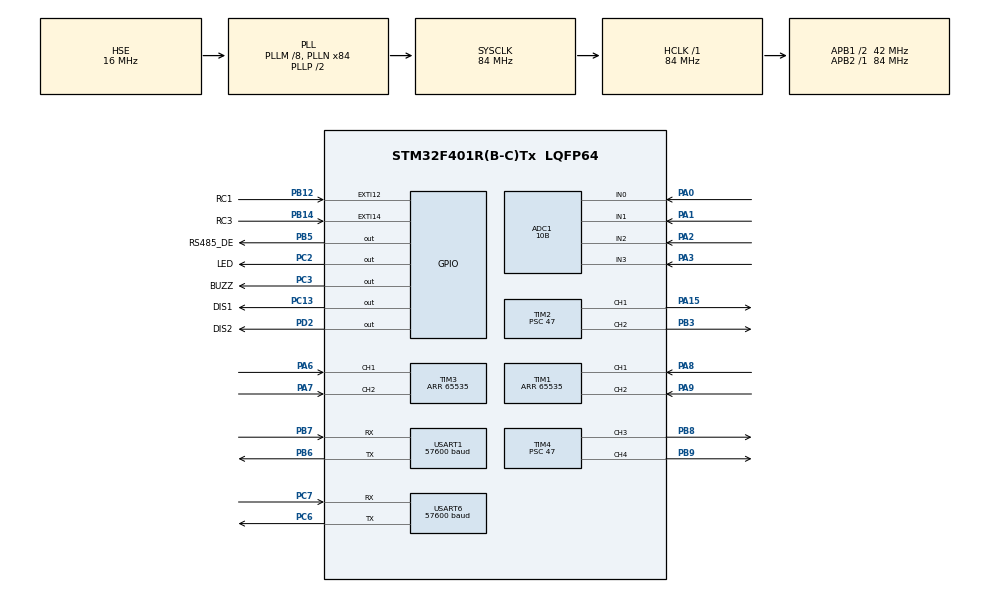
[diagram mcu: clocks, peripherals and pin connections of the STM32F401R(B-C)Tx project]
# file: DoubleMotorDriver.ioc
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ADC1.Channel-0\#ChannelRegularConversion=ADC_CHANNEL_0
ADC1.Channel-1\#ChannelRegularConversion=ADC_CHANNEL_1
ADC1.Channel-2\#ChannelRegularConversion=ADC_CHANNEL_2
ADC1.Channel-3\#ChannelRegularConversion=ADC_CHANNEL_3
ADC1.Channel-4\#ChannelRegularConversion=ADC_CHANNEL_TEMPSENSOR
ADC1.ClockPrescaler=ADC_CLOCK_SYNC_PCLK_DIV6
ADC1.ContinuousConvMode=ENABLE
ADC1.DMAContinuousRequests=ENABLE
ADC1.DataAlign=ADC_DATAALIGN_RIGHT
ADC1.DiscontinuousConvMode=DISABLE
ADC1.EOCSelection=ADC_EOC_SINGLE_CONV
ADC1.EnableAnalogWatchDog=false
ADC1.ExternalTrigConv=ADC_SOFTWARE_START
ADC1.ExternalTrigConvEdge=ADC_EXTERNALTRIGCONVEDGE_NONE
ADC1.InjNumberOfConversion=0
ADC1.NbrOfConversion=5
ADC1.NbrOfConversionFlag=1
ADC1.Rank-0\#ChannelRegularConversion=1
ADC1.Rank-1\#ChannelRegularConversion=2
ADC1.Rank-2\#ChannelRegularConversion=3
ADC1.Rank-3\#ChannelRegularConversion=4
ADC1.Rank-4\#ChannelRegularConversion=5
ADC1.Resolution=ADC_RESOLUTION_10B
ADC1.SamplingTime-0\#ChannelRegularConversion=ADC_SAMPLETIME_480CYCLES
ADC1.SamplingTime-1\#ChannelRegularConversion=ADC_SAMPLETIME_480CYCLES
ADC1.SamplingTime-2\#ChannelRegularConversion=ADC_SAMPLETIME_480CYCLES
ADC1.SamplingTime-3\#ChannelRegularConversion=ADC_SAMPLETIME_480CYCLES
ADC1.SamplingTime-4\#ChannelRegularConversion=ADC_SAMPLETIME_480CYCLES
ADC1.ScanConvMode=ENABLE
ADC1.master=1
Dma.ADC1.0.Direction=DMA_PERIPH_TO_MEMORY
Dma.ADC1.0.FIFOMode=DMA_FIFOMODE_DISABLE
Dma.ADC1.0.Instance=DMA2_Stream0
Dma.ADC1.0.MemDataAlignment=DMA_MDATAALIGN_HALFWORD
Dma.ADC1.0.MemInc=DMA_MINC_ENABLE
Dma.ADC1.0.Mode=DMA_CIRCULAR
Dma.ADC1.0.PeriphDataAlignment=DMA_PDATAALIGN_HALFWORD
Dma.ADC1.0.PeriphInc=DMA_PINC_DISABLE
Dma.ADC1.0.Priority=DMA_PRIORITY_MEDIUM
Dma.Request0=ADC1
Dma.Request1=USART1_RX
Dma.USART1_RX.1.Direction=DMA_PERIPH_TO_MEMORY
Dma.USART1_RX.1.FIFOMode=DMA_FIFOMODE_DISABLE
Dma.USART1_RX.1.Instance=DMA2_Stream2
Dma.USART1_RX.1.MemDataAlignment=DMA_MDATAALIGN_BYTE
Dma.USART1_RX.1.MemInc=DMA_MINC_ENABLE
Dma.USART1_RX.1.Mode=DMA_CIRCULAR
Dma.USART1_RX.1.PeriphDataAlignment=DMA_PDATAALIGN_BYTE
Dma.USART1_RX.1.PeriphInc=DMA_PINC_DISABLE
Dma.USART1_RX.1.Priority=DMA_PRIORITY_VERY_HIGH
Mcu.Family=STM32F4
Mcu.Name=STM32F401R(B-C)Tx
Mcu.Package=LQFP64
NVIC.DMA2_Stream0_IRQn=true\:6\:0\:true\:false\:true\:false
NVIC.DMA2_Stream2_IRQn=true\:5\:0\:true\:false\:true\:false
NVIC.PriorityGroup=NVIC_PRIORITYGROUP_4
NVIC.TIM1_TRG_COM_TIM11_IRQn=true\:2\:0\:true\:false\:true\:true
NVIC.TIM1_UP_TIM10_IRQn=true\:1\:0\:true\:false\:true\:true
NVIC.USART1_IRQn=true\:3\:0\:true\:false\:true\:true
NVIC.USART6_IRQn=true\:4\:0\:true\:false\:true\:true
PA0-WKUP.Signal=ADCx_IN0
PA1.Signal=ADCx_IN1
PA13.Mode=Serial_Wire
PA13.Signal=SYS_JTMS-SWDIO
PA14.Mode=Serial_Wire
PA14.Signal=SYS_JTCK-SWCLK
PA15.Signal=S_TIM2_CH1_ETR
PA2.Signal=ADCx_IN2
PA3.Signal=ADCx_IN3
PA6.Signal=S_TIM3_CH1
PA7.Signal=S_TIM3_CH2
PA8.Signal=S_TIM1_CH1
PA9.Signal=S_TIM1_CH2
PB12.GPIO_Label=RC1
PB12.Signal=GPXTI12
PB13.GPIO_Label=RC2
PB13.Signal=EVENTOUT
PB14.GPIO_Label=RC3
PB14.Signal=GPXTI14
PB3.Signal=S_TIM2_CH2
PB5.GPIO_Label=RS485_DE
PB5.Signal=GPIO_Output
PB6.Mode=Asynchronous
PB6.Signal=USART1_TX
PB7.Mode=Asynchronous
PB7.Signal=USART1_RX
PB8.Signal=S_TIM4_CH3
PB9.Signal=S_TIM4_CH4
PC13-ANTI_TAMP.GPIO_Label=DIS1
PC13-ANTI_TAMP.Signal=GPIO_Output
PC2.GPIO_Label=LED
PC2.Signal=GPIO_Output
PC3.GPIO_Label=BUZZ
PC3.Signal=GPIO_Output
PC6.Mode=Asynchronous
PC6.Signal=USART6_TX
PC7.Mode=Asynchronous
PC7.Signal=USART6_RX
PD2.GPIO_Label=DIS2
PD2.Signal=GPIO_Output
PH0\ -\ OSC_IN.Mode=HSE-External-Oscillator
PH0\ -\ OSC_IN.Signal=RCC_OSC_IN
PH1\ -\ OSC_OUT.Mode=HSE-External-Oscillator
PH1\ -\ OSC_OUT.Signal=RCC_OSC_OUT
ProjectManager.HeapSize=0x1600
ProjectManager.StackSize=0x1600
ProjectManager.TargetToolchain=EWARM
RCC.48MHZClocksFreq_Value=42000000
RCC.AHBFreq_Value=84000000
RCC.APB1CLKDivider=RCC_HCLK_DIV2
RCC.APB1Freq_Value=42000000
RCC.APB1TimFreq_Value=84000000
RCC.APB2Freq_Value=84000000
RCC.APB2TimFreq_Value=84000000
RCC.CortexFreq_Value=84000000
RCC.HCLKFreq_Value=84000000
RCC.HSE_VALUE=16000000
RCC.HSI_VALUE=16000000
RCC.LSE_VALUE=32768
RCC.PLLM=8
RCC.PLLN=84
RCC.PLLSourceVirtual=RCC_PLLSOURCE_HSE
RCC.SYSCLKFreq_VALUE=84000000
RCC.SYSCLKSource=RCC_SYSCLKSOURCE_PLLCLK
RCC.VCOOutputFreq_Value=168000000
SH.ADCx_IN0.0=ADC1_IN0,IN0
SH.ADCx_IN1.0=ADC1_IN1,IN1
SH.ADCx_IN2.0=ADC1_IN2,IN2
SH.ADCx_IN3.0=ADC1_IN3,IN3
SH.S_TIM1_CH1.0=TIM1_CH1,Encoder_Interface
SH.S_TIM1_CH2.0=TIM1_CH2,Encoder_Interface
SH.S_TIM2_CH1_ETR.0=TIM2_CH1,PWM Generation1 CH1
SH.S_TIM2_CH2.0=TIM2_CH2,PWM Generation2 CH2
SH.S_TIM3_CH1.0=TIM3_CH1,Encoder_Interface
SH.S_TIM3_CH2.0=TIM3_CH2,Encoder_Interface
SH.S_TIM4_CH3.0=TIM4_CH3,PWM Generation3 CH3
SH.S_TIM4_CH4.0=TIM4_CH4,PWM Generation4 CH4
TIM1.EncoderMode=TIM_ENCODERMODE_TI12
TIM1.IC1Filter=5
TIM1.IC1Polarity=TIM_ICPOLARITY_FALLING
TIM1.IC2Filter=5
TIM1.Period=65535
TIM10.Period=83
TIM10.Prescaler=199
TIM2.Channel-PWM\ Generation1\ CH1=TIM_CHANNEL_1
TIM2.Channel-PWM\ Generation2\ CH2=TIM_CHANNEL_2
TIM2.Period=102
TIM2.Prescaler=47
TIM3.EncoderMode=TIM_ENCODERMODE_TI12
TIM3.IC1Filter=5
TIM3.IC1Polarity=TIM_ICPOLARITY_FALLING
TIM3.IC2Filter=5
TIM3.Period=65535
TIM4.Channel-PWM\ Generation3\ CH3=TIM_CHANNEL_3
TIM4.Channel-PWM\ Generation4\ CH4=TIM_CHANNEL_4
TIM4.Period=102
TIM4.Prescaler=47
USART1.BaudRate=57600
USART1.Mode=MODE_RX
USART1.VirtualMode=VM_ASYNC
USART6.BaudRate=57600
USART6.Mode=MODE_TX
USART6.VirtualMode=VM_ASYNC
VP_ADC1_TempSens_Input.Mode=IN-TempSens
VP_TIM10_VS_ClockSourceINT.Mode=Enable_Timer
board=custom

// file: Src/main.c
/**
  ******************************************************************************
  * @file           : main.c
  * @brief          : Main program body
  ******************************************************************************
  ** This notice applies to any and all portions of this file
  * that are not between comment pairs USER CODE BEGIN and
  * USER CODE END. Other portions of this file, whether
  * inserted by the user or by software development tools
  * are owned by their respective copyright owners.
  *
  * COPYRIGHT(c) 2019 STMicroelectronics
  *
  * Redistribution and use in source and binary forms, with or without modification,
  * are permitted provided that the following conditions are met:
  *   1. Redistributions of source code must retain the above copyright notice,
  *      this list of conditions and the following disclaimer.
  *   2. Redistributions in binary form must reproduce the above copyright notice,
  *      this list of conditions and the following disclaimer in the documentation
  *      and/or other materials provided with the distribution.
  *   3. Neither the name of STMicroelectronics nor the names of its contributors
  *      may be used to endorse or promote products derived from this software
  *      without specific prior written permission.
  *
  * THIS SOFTWARE IS PROVIDED BY THE COPYRIGHT HOLDERS AND CONTRIBUTORS "AS IS"
  * AND ANY EXPRESS OR IMPLIED WARRANTIES, INCLUDING, BUT NOT LIMITED TO, THE
  * IMPLIED WARRANTIES OF MERCHANTABILITY AND FITNESS FOR A PARTICULAR PURPOSE ARE
  * DISCLAIMED. IN NO EVENT SHALL THE COPYRIGHT HOLDER OR CONTRIBUTORS BE LIABLE
  * FOR ANY DIRECT, INDIRECT, INCIDENTAL, SPECIAL, EXEMPLARY, OR CONSEQUENTIAL
  * DAMAGES (INCLUDING, BUT NOT LIMITED TO, PROCUREMENT OF SUBSTITUTE GOODS OR
  * SERVICES; LOSS OF USE, DATA, OR PROFITS; OR BUSINESS INTERRUPTION) HOWEVER
  * CAUSED AND ON ANY THEORY OF LIABILITY, WHETHER IN CONTRACT, STRICT LIABILITY,
  * OR TORT (INCLUDING NEGLIGENCE OR OTHERWISE) ARISING IN ANY WAY OUT OF THE USE
  * OF THIS SOFTWARE, EVEN IF ADVISED OF THE POSSIBILITY OF SUCH DAMAGE.
  *
  ******************************************************************************
  */
#include "main.h"
#include "stm32f4xx_hal.h"
#include "adc.h"
#include "dma.h"
#include "tim.h"
#include "usart.h"
#include "gpio.h"

/* USER CODE BEGIN Includes */
#include "send_queue_manager.h"
#include "msg_gen.h"
#include "msg_rec.h"
#include "requests.h"
#include <stdlib.h>
#include <math.h>
#include <stdio.h>
#include "PID.h"
#include "fuzzy.h"
#include "robot_params.h"
#include "encoder.h"
#include "motor_control.h"
#include "eeprom_emulator.h"
#include "alarms.h"

#define ADC_MEASUREMENTS 5
/* USER CODE END Includes */

/* USER CODE BEGIN PV */
/* Private variables ---------------------------------------------------------*/
RobotParams_t robotParams;
uint16_t ADC_RAW[ADC_MEASUREMENTS];
extern uint16_t rec_timeout_ms;
/* USER CODE END PV */

void SystemClock_Config(void);

/* USER CODE BEGIN PFP */
/* Private function prototypes -----------------------------------------------*/
void check_timeout();
void assign_adc();

void pulse_gen();

void execute_closed_loop_control(){
  static float outLeft, outRight;

  if(robotParams.controlType == openLoop)
  {
    outLeft = robotParams.driveLeft.setpoint;
    outRight = robotParams.driveRight.setpoint;
  }
  else if(robotParams.controlType == closedLoopPID)
  {
    PID(&robotParams.driveLeft.pid,
        robotParams.driveLeft.setpoint,
        robotParams.driveLeft.speed,
        &outLeft,
        derivativeOnFeedback,
        false);

    PID(&robotParams.driveRight.pid,
        robotParams.driveRight.setpoint,
        robotParams.driveRight.speed,
        &outRight,
        derivativeOnFeedback,
        false);
  }
  else if(robotParams.controlType == closedLoopFuzzy)
  {
    fuzzy(&robotParams.driveLeft.fuzzy,
          robotParams.driveLeft.setpoint,
          robotParams.driveLeft.speed,
          &outLeft,
          false);

    fuzzy(&robotParams.driveRight.fuzzy,
          robotParams.driveRight.setpoint,
          robotParams.driveRight.speed,
          &outRight,
          false);
  }

  drive_motor_left((int16_t)outLeft);
  drive_motor_right((int16_t)outRight);
}

void HAL_TIM_PeriodElapsedCallback(TIM_HandleTypeDef *htim){
  if(htim->Instance == TIM10){ // each 200us
    static uint16_t cntr = 0;
    cntr++;
    update_slewrate_cnt();

    if(cntr == 25){ //each  5ms
      get_velocity(&robotParams);
      execute_closed_loop_control();
      if (rec_timeout_ms > 0) rec_timeout_ms--; //if this hits 0, then we are disabling motors (var is set in uart rec)
      cntr = 0;
    }
  }
}
/* USER CODE END PFP */

int main(void)
{
  /* USER CODE BEGIN 1 */
  InitSendQueue();
  ReadFromFlash(&robotParams, sizeof(robotParams), SECTOR5_FLASH_BEGINING);
  //fake_params();

  init_params(&robotParams);
  /* USER CODE END 1 */

  /* MCU Configuration----------------------------------------------------------*/

  /* Reset of all peripherals, Initializes the Flash interface and the Systick. */
  HAL_Init();

  /* Configure the system clock */
  SystemClock_Config();

  /* Initialize all configured peripherals */
  MX_GPIO_Init();
  MX_DMA_Init();
  MX_ADC1_Init();
  MX_TIM1_Init();
  MX_TIM2_Init();
  MX_TIM3_Init();
  MX_TIM4_Init();
  MX_USART6_UART_Init();
  MX_TIM10_Init();
  MX_USART1_UART_Init();
  /* USER CODE BEGIN 2 */
  HAL_ADC_Start_DMA(&hadc1, (uint32_t*)ADC_RAW, ADC_MEASUREMENTS);
  disable_motors();
  start_receiver();
  HAL_TIM_Encoder_Start(&htim1, TIM_CHANNEL_ALL);
  HAL_TIM_Encoder_Start(&htim3, TIM_CHANNEL_ALL);
  HAL_TIM_Base_Start_IT(&htim10); // 200 us IRQ (motor slew-rate limit)
  motor_left_start_PWM();
  motor_right_start_PWM();
  drive_motor_left(0);
  drive_motor_right(0);
  /* USER CODE END 2 */

  /* Infinite loop */
  /* USER CODE BEGIN WHILE */
  while (1){
    check_timeout();
    assign_adc();

    send_feedback(&robotParams); //sending feedback 'task'
    check_monitored_params(&robotParams); // threshold checks for alarms
    process_alarms(&robotParams); // process alarms timming
    process_requests(&robotParams, sizeof(robotParams));

  /* USER CODE END WHILE */

  }

}

void SystemClock_Config(void)
{

  RCC_OscInitTypeDef RCC_OscInitStruct;
  RCC_ClkInitTypeDef RCC_ClkInitStruct;

    /**Configure the main internal regulator output voltage
    */
  __HAL_RCC_PWR_CLK_ENABLE();

  __HAL_PWR_VOLTAGESCALING_CONFIG(PWR_REGULATOR_VOLTAGE_SCALE2);

    /**Initializes the CPU, AHB and APB busses clocks
    */
  RCC_OscInitStruct.OscillatorType = RCC_OSCILLATORTYPE_HSE;
  RCC_OscInitStruct.HSEState = RCC_HSE_ON;
  RCC_OscInitStruct.PLL.PLLState = RCC_PLL_ON;
  RCC_OscInitStruct.PLL.PLLSource = RCC_PLLSOURCE_HSE;
  RCC_OscInitStruct.PLL.PLLM = 8;
  RCC_OscInitStruct.PLL.PLLN = 84;
  RCC_OscInitStruct.PLL.PLLP = RCC_PLLP_DIV2;
  RCC_OscInitStruct.PLL.PLLQ = 4;
  if (HAL_RCC_OscConfig(&RCC_OscInitStruct) != HAL_OK)
  {
    _Error_Handler(__FILE__, __LINE__);
  }

    /**Initializes the CPU, AHB and APB busses clocks
    */
  RCC_ClkInitStruct.ClockType = RCC_CLOCKTYPE_HCLK|RCC_CLOCKTYPE_SYSCLK
                              |RCC_CLOCKTYPE_PCLK1|RCC_CLOCKTYPE_PCLK2;
  RCC_ClkInitStruct.SYSCLKSource = RCC_SYSCLKSOURCE_PLLCLK;
  RCC_ClkInitStruct.AHBCLKDivider = RCC_SYSCLK_DIV1;
  RCC_ClkInitStruct.APB1CLKDivider = RCC_HCLK_DIV2;
  RCC_ClkInitStruct.APB2CLKDivider = RCC_HCLK_DIV1;

  if (HAL_RCC_ClockConfig(&RCC_ClkInitStruct, FLASH_LATENCY_2) != HAL_OK)
  {
    _Error_Handler(__FILE__, __LINE__);
  }

    /**Configure the Systick interrupt time
    */
  HAL_SYSTICK_Config(HAL_RCC_GetHCLKFreq()/1000);

    /**Configure the Systick
    */
  HAL_SYSTICK_CLKSourceConfig(SYSTICK_CLKSOURCE_HCLK);

  /* SysTick_IRQn interrupt configuration */
  HAL_NVIC_SetPriority(SysTick_IRQn, 0, 0);
}

/* USER CODE BEGIN 4 */
void check_timeout(){
  if(rec_timeout_ms == 0){
    robotParams.state.isEnabled = 0;
    robotParams.requests.allowMovementChanged = 1;
  }
}

void assign_adc(){
  robotParams.state.voltage = ADC_RAW[0];
  robotParams.state.temperature = ADC_RAW[1];
  robotParams.driveLeft.current = ADC_RAW[3];
  robotParams.driveRight.current = ADC_RAW[2];
  //static uint16_t internal_cpu_temp;
  //internal_cpu_temp = ADC_RAW[4];
}

void pulse_gen(){
  static unsigned long previousTimex = 0;
  static bool isHigh = false;

  unsigned long ticks = HAL_GetTick();

  if ((ticks - previousTimex) > 200) {
    if(isHigh) robotParams.driveRight.setpoint = 10.0;
    else robotParams.driveRight.setpoint = 0.0;
    isHigh = !isHigh;
    previousTimex = ticks;
  }
}

/* USER CODE END 4 */

void _Error_Handler(char *file, int line)
{
  while(1)
  {
  }
}

/************************ (C) COPYRIGHT STMicroelectronics *****END OF FILE****/
